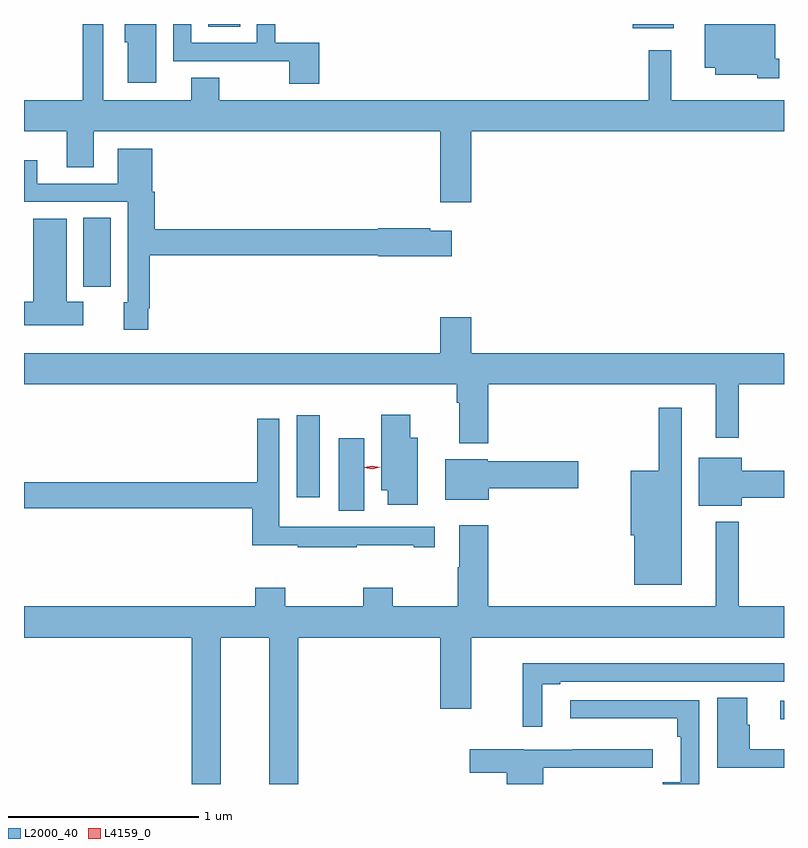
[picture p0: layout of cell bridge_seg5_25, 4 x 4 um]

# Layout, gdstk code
import gdstk
lib = gdstk.Library(unit=1e-6, precision=1e-09)
def R(c, l, rs):  # rectangles x0, y0, x1, y1
    for r in rs: c.add(gdstk.rectangle(r[:2], r[2:], *l))
def P(c, l, *ps):  # polygons
    for p in ps: c.add(gdstk.Polygon(p, *l))
L2000_40 = (2000, 40)
L4159_0 = (4159, 0)

bridge_seg5_25 = lib.new_cell('bridge_seg5_25')
R(bridge_seg5_25, L2000_40, [(1017.945,844.343,1017.965,844.44), (1015.622,845.44,1015.756,845.821), (1015.4,845.511,1015.522,845.941), (1014.278,846.619,1014.421,846.98), (1017.17,847.979,1017.385,848.001), (1014.935,847.987,1015.102,848.001)])
P(bridge_seg5_25, L2000_40, [(1016.32,847.436),(1017.965,847.436),(1017.965,847.6),(1017.372,847.6),(1017.372,847.864),(1017.253,847.864),(1017.253,847.6),(1014.993,847.6),(1014.993,847.717),(1014.845,847.717),(1014.845,847.6),(1014.382,847.6),(1014.382,848.001),(1014.273,848.001),(1014.273,847.6),(1013.965,847.6),(1013.965,847.436),(1014.191,847.436),(1014.191,847.246),(1014.331,847.246),(1014.331,847.436),(1016.156,847.436),(1016.156,847.062),(1016.32,847.062)],
  [(1017.941,847.819),(1017.919,847.819),(1017.919,848.001),(1017.548,848.001),(1017.548,847.772),(1017.602,847.772),(1017.602,847.733),(1017.825,847.733),(1017.825,847.715),(1017.941,847.715)],
  [(1015.52,847.902),(1015.287,847.902),(1015.287,848.001),(1015.191,848.001),(1015.191,847.902),(1014.846,847.902),(1014.846,848.001),(1014.75,848.001),(1014.75,847.806),(1015.094,847.806),(1015.094,847.805),(1015.36,847.805),(1015.36,847.686),(1015.52,847.686)],
  [(1014.661,848.001),(1014.494,848.001),(1014.494,847.905),(1014.512,847.905),(1014.512,847.692),(1014.661,847.692)],
  [(1014.619,846.505),(1014.626,846.505),(1014.626,846.784),(1015.83,846.784),(1015.83,846.779),(1016.215,846.779),(1016.215,846.913),(1016.102,846.913),(1016.102,846.926),(1015.83,846.926),(1015.83,846.92),(1014.653,846.92),(1014.653,847.119),(1014.64,847.119),(1014.64,847.345),(1014.458,847.345),(1014.458,847.161),(1014.034,847.161),(1014.034,847.285),(1013.965,847.285),(1013.965,847.065),(1014.51,847.065),(1014.51,846.537),(1014.491,846.537),(1014.491,846.393),(1014.619,846.393)],
  [(1014.278,846.538),(1014.19,846.538),(1014.19,846.976),(1014.014,846.976),(1014.014,846.538),(1013.965,846.538),(1013.965,846.416),(1014.278,846.416)],
  [(1016.408,846.104),(1017.605,846.104),(1017.605,845.823),(1017.727,845.823),(1017.727,846.104),(1017.965,846.104),(1017.965,846.268),(1016.32,846.268),(1016.32,846.457),(1016.156,846.457),(1016.156,846.268),(1013.965,846.268),(1013.965,846.104),(1016.243,846.104),(1016.243,846.008),(1016.255,846.008),(1016.255,845.795),(1016.408,845.795)],
  [(1017.427,845.98),(1017.306,845.98),(1017.306,845.65),(1017.158,845.65),(1017.158,845.31),(1017.176,845.31),(1017.176,845.051),(1017.427,845.051)],
  [(1016.038,845.824),(1015.999,845.824),(1015.999,845.944),(1015.844,845.944),(1015.844,845.546),(1015.88,845.546),(1015.88,845.472),(1016.038,845.472)],
  [(1015.715,845.257),(1016.015,845.257),(1016.015,845.247),(1016.128,845.247),(1016.128,845.355),(1015.518,845.355),(1015.518,845.356),(1015.308,845.356),(1015.308,845.923),(1015.192,845.923),(1015.192,845.588),(1013.965,845.588),(1013.965,845.452),(1015.166,845.452),(1015.166,845.257),(1015.405,845.257),(1015.405,845.247),(1015.715,845.247)],
  [(1017.742,845.507),(1017.965,845.507),(1017.965,845.649),(1017.742,845.649),(1017.742,845.719),(1017.515,845.719),(1017.515,845.465),(1017.742,845.465)],
  [(1016.41,845.558),(1016.881,845.558),(1016.881,845.7),(1016.406,845.7),(1016.406,845.71),(1016.183,845.71),(1016.183,845.498),(1016.41,845.498)],
  [(1015,844.772),(1015.256,844.772),(1015.256,844.001),(1015.409,844.001),(1015.409,844.772),(1016.156,844.772),(1016.156,844.398),(1016.32,844.398),(1016.32,844.772),(1017.965,844.772),(1017.965,844.936),(1017.727,844.936),(1017.727,845.38),(1017.605,845.38),(1017.605,844.936),(1016.408,844.936),(1016.408,845.362),(1016.255,845.362),(1016.255,845.141),(1016.248,845.141),(1016.248,844.936),(1015.905,844.936),(1015.905,845.035),(1015.75,845.035),(1015.75,844.936),(1015.341,844.936),(1015.341,845.035),(1015.181,845.035),(1015.181,844.936),(1013.965,844.936),(1013.965,844.772),(1014.848,844.772),(1014.848,844.001),(1015,844.001)],
  [(1016.692,844.527),(1016.788,844.527),(1016.788,844.539),(1017.965,844.539),(1017.965,844.636),(1016.59,844.636),(1016.59,844.302),(1016.692,844.302)],
  [(1017.965,844.183),(1017.785,844.183),(1017.785,844.313),(1017.772,844.313),(1017.772,844.454),(1017.614,844.454),(1017.614,844.086),(1017.965,844.086)],
  [(1017.519,844.443),(1016.841,844.443),(1016.841,844.346),(1017.403,844.346),(1017.403,844.25),(1017.422,844.25),(1017.422,844.009),(1017.326,844.009),(1017.326,844.001),(1017.519,844.001)],
  [(1016.698,844.086),(1017.274,844.086),(1017.274,844.183),(1016.853,844.183),(1016.853,844.182),(1016.594,844.182),(1016.594,844.183),(1016.31,844.183),(1016.31,844.061),(1016.507,844.061),(1016.507,844.001),(1016.698,844.001)])
P(bridge_seg5_25, L4159_0, [(1015.799,845.657),(1015.757,845.666),(1015.757,845.667),(1015.757,845.667),(1015.798,845.677),(1015.839,845.667),(1015.84,845.667),(1015.839,845.667)])

lib.write_gds('bridge_seg5_25.gds')
